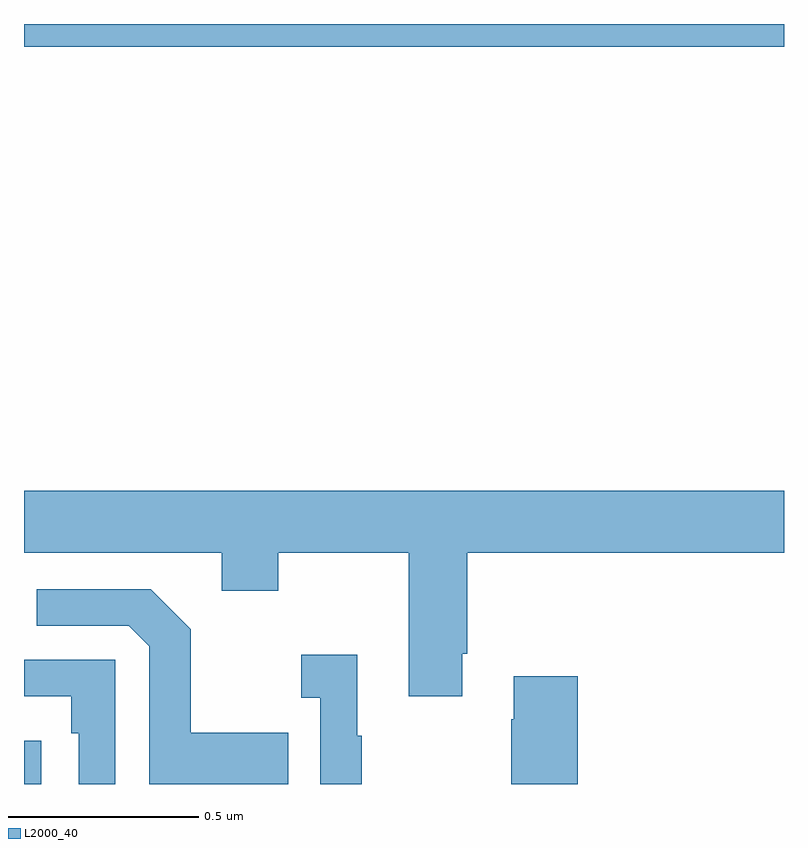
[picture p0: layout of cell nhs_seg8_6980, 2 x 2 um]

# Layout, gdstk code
import gdstk
lib = gdstk.Library(unit=1e-6, precision=1e-09)
def R(c, l, rs):  # rectangles x0, y0, x1, y1
    for r in rs: c.add(gdstk.rectangle(r[:2], r[2:], *l))
def P(c, l, *ps):  # polygons
    for p in ps: c.add(gdstk.Polygon(p, *l))
L2000_40 = (2000, 40)

nhs_seg8_6980 = lib.new_cell('nhs_seg8_6980')
R(nhs_seg8_6980, L2000_40, [(204,1107.9,204.046,1108.014), (204,1109.84,206,1109.9)])
P(nhs_seg8_6980, L2000_40, [(205.153,1108.243),(205.166,1108.243),(205.166,1108.508),(206,1108.508),(206,1108.672),(204,1108.672),(204,1108.508),(204.521,1108.508),(204.521,1108.409),(204.669,1108.409),(204.669,1108.508),(205.013,1108.508),(205.013,1108.131),(205.153,1108.131)],
  [(204.695,1108.035),(204.439,1108.035),(204.439,1108.307),(204.333,1108.413),(204.033,1108.413),(204.033,1108.317),(204.276,1108.317),(204.33,1108.263),(204.33,1107.9),(204.695,1107.9)],
  [(204.889,1108.027),(204.877,1108.027),(204.877,1108.24),(204.729,1108.24),(204.729,1108.127),(204.78,1108.127),(204.78,1107.9),(204.889,1107.9)],
  [(204.24,1108.227),(204,1108.227),(204,1108.131),(204.124,1108.131),(204.124,1108.034),(204.144,1108.034),(204.144,1107.9),(204.24,1107.9)],
  [(205.457,1108.183),(205.289,1108.183),(205.289,1108.07),(205.282,1108.07),(205.282,1107.9),(205.457,1107.9)])

lib.write_gds('nhs_seg8_6980.gds')
